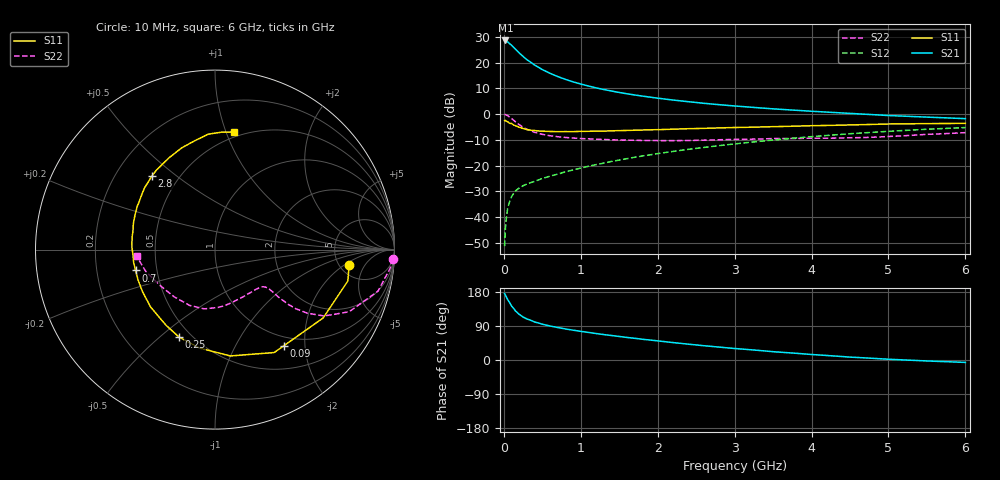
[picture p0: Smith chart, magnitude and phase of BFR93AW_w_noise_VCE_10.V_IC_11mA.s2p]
! (c) 2017  Infineon Technologies AG, Munich
! Infineon Technologies  Discrete & RF Semiconductors
! BFR93AW
! VCE =  10. V,  IC =  11 mA
! Common Emitter S-Parameters:  Jan 2017
# GHz  S  MA  R  50
!  f  S11  S21  S12  S22
! GHz  MAG  ANG  MAG  ANG  MAG  ANG  MAG  ANG
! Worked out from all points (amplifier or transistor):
!   77 points, 10 MHz to 6 GHz, reference 50 ohm
!   highest |S21| = 28.7 dB at 20 MHz (marker M1)
!   |S21| within 3 dB of that: start of sweep to 137.9 MHz
!   unconditionally stable (mu >= 1): 856.4 MHz to 2.097 GHz
!   at 130 MHz: K = 0.31, MSG = 28.3 dB, |S12| = -30.8 dB
!   at 2.2 GHz: K = 0.99, MSG = 10.0 dB, |S12| = -14.5 dB
!   at 6 GHz: K = 0.85, MSG = 1.7 dB, |S12| = -5.2 dB
!   lowest NFmin = 1.26 dB at 450 MHz
!   S11 on the Smith chart (normalised r, x): 10 MHz: 6.06, -2.45; 90 MHz: 0.85, -1.61; 250 MHz: 0.43, -0.58; 700 MHz: 0.38, -0.11; 2.8 GHz: 0.36, +0.41; 6 GHz: 0.45, +1.06
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0.01  0.7523 -6.7  27.06 175.3  0.0027 86.2  0.9913 -2.9
0.02  0.7605 -13.3  27.2 171.4  0.0058 89.8  0.9814 -6.1
0.05  0.7129 -32.3  25.54 159.3  0.0148 75.5  0.9372 -14.3
0.09  0.6588 -54.3  22.58 146.2  0.0227 66.5  0.8444 -22.5
0.1  0.6616 -60.1  22.05 142.4  0.0247 65.1  0.8242 -24.8
0.15  0.5986 -81.8  18.48 129.7  0.032 57.6  0.7124 -31.3
0.2  0.5556 -98.9  15.54 120.5  0.0366 54.9  0.6234 -34.6
0.25  0.5264 -112.5  13.28 113.4  0.0405 53.2  0.5575 -36.2
0.3  0.5022 -122.9  11.49 108.3  0.0438 52.6  0.5072 -36.8
0.4  0.4808 -138.2  9.025 100.3  0.0493 54.2  0.4433 -36.8
0.5  0.4671 -149.8  7.376 94.5  0.056 55.7  0.4048 -36.3
0.6  0.4606 -158.6  6.244 89.7  0.0623 57.1  0.3804 -36.1
0.7  0.4575 -165.3  5.398 85.8  0.068 59.2  0.364 -36.0
0.9  0.4577 -176.5  4.251 78.7  0.0823 62.1  0.3433 -37.2
1.1  0.4645 174.8  3.528 72.8  0.0969 63.8  0.3312 -39.3
1.5  0.4786 161.4  2.644 62.1  0.128 65.6  0.3141 -46.3
2.1  0.5047 145.4  1.963 48.2  0.1796 64.9  0.3056 -61.3
2.8  0.5405 130.4  1.529 34.0  0.2444 61.3  0.3179 -81.5
3.1  0.5533 124.3  1.407 28.8  0.2735 58.9  0.3239 -89.7
4.1  0.5998 106.5  1.118 13.2  0.3753 49.6  0.3405 -117.8
5.1  0.6457 92.0  0.928 1.1  0.4725 38.2  0.3735 -151.3
6  0.6633 81.0  0.819 -6.4  0.5488 27.4  0.4374 -175.0
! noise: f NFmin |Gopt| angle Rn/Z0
0.45  1.26  0.12  111  0.13
0.9  1.57  0.23  157  0.14
1.9  2.62  0.47  -146  0.18
2.4  3.24  0.54  -130  0.37
